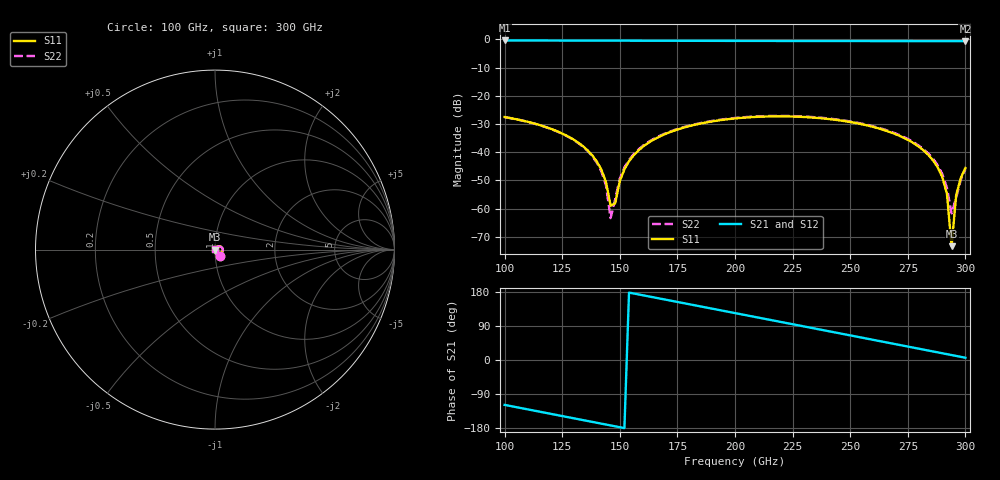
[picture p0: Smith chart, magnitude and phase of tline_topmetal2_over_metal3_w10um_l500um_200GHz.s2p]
#  GHZ S DB R 50
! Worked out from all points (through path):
!   101 points, 100 GHz to 300 GHz, reference 50 ohm
!   highest |S21| = -0.40 dB at 100 GHz (marker M1); lowest = -0.7 dB at 300 GHz (marker M2)
!   group delay of S21, straight-line fit = 3.27 ps
!   lowest |S11| = -73.3 dB at 294 GHz (marker M3), VSWR 1.00, Z = 50 - j0.00439 ohm
!   |S11| at or under -10 dB: start of sweep to end of sweep
!   |S22| runs from -63.4 to -27.1 dB; largest |S21 - S12| = 1.1e-14
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100  -27.55 -52.8  -0.40 -118.5  -0.40 -118.5  -27.56 -52.7
120  -31.69 -74.9  -0.43 -142.0  -0.43 -142.0  -31.75 -74.0
134  -37.87 -91.7  -0.45 -158.5  -0.45 -158.5  -38.06 -88.5
142  -46.19 -105.3  -0.46 -168.0  -0.46 -168.0  -46.83 -94.2
144  -50.58 -112.7  -0.47 -170.3  -0.47 -170.3  -51.78 -92.7
146  -58.97 -138.1  -0.47 -172.7  -0.47 -172.7  -63.36 -68.8
148  -58.10 108.0  -0.47 -175.0  -0.47 -175.0  -56.63 59.0
150  -50.23 86.0  -0.48 -177.4  -0.48 -177.4  -49.34 65.5
154  -43.23 74.6  -0.48 177.9  -0.48 177.9  -42.74 64.5
160  -38.06 65.5  -0.49 170.8  -0.49 170.8  -37.75 59.1
168  -34.17 55.5  -0.51 161.4  -0.51 161.4  -33.94 50.7
200  -28.04 18.4  -0.55 123.8  -0.55 123.8  -27.88 14.9
234  -27.74 -20.5  -0.59 83.8  -0.59 83.8  -27.57 -24.1
268  -33.09 -59.6  -0.62 43.7  -0.62 43.7  -32.82 -64.3
280  -38.18 -73.8  -0.64 29.6  -0.64 29.6  -37.79 -79.6
288  -45.43 -84.3  -0.65 20.1  -0.65 20.1  -44.66 -92.7
290  -48.91 -87.7  -0.65 17.8  -0.65 17.8  -47.81 -98.1
292  -54.79 -93.3  -0.65 15.4  -0.65 15.4  -52.68 -108.2
294  -73.31 -168.3  -0.65 13.1  -0.65 13.1  -61.68 -152.5
296  -55.19 95.9  -0.66 10.7  -0.66 10.7  -56.18 112.3
298  -49.14 90.1  -0.66 8.3  -0.66 8.3  -49.77 95.3
300  -45.61 86.6  -0.66 6.0  -0.66 6.0  -46.03 88.5
